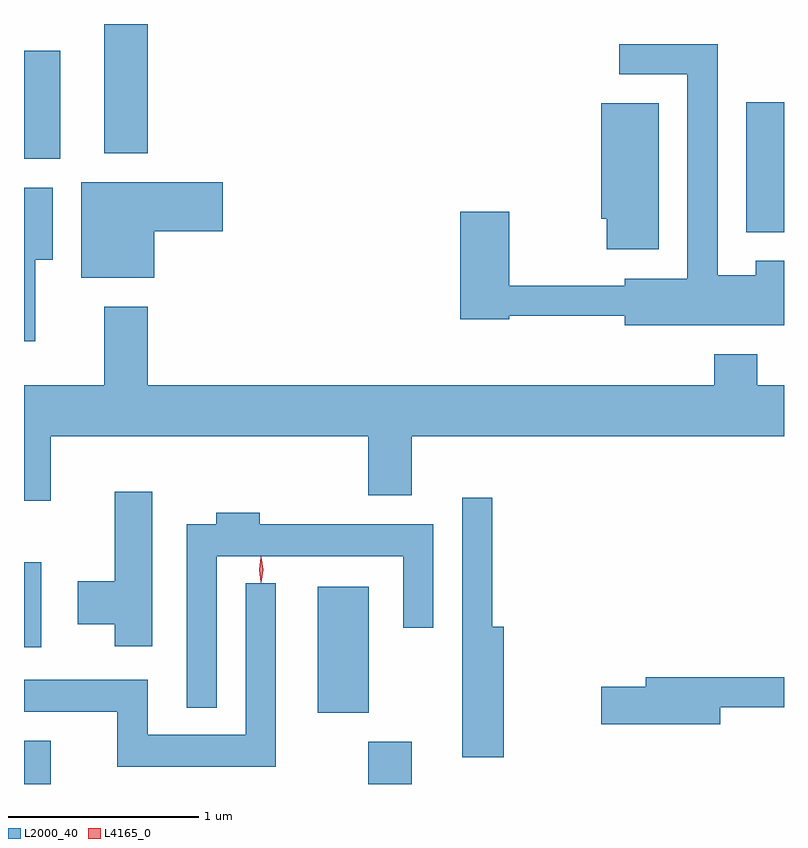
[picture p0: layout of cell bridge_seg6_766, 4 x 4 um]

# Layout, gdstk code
import gdstk
lib = gdstk.Library(unit=1e-6, precision=1e-09)
def R(c, l, rs):  # rectangles x0, y0, x1, y1
    for r in rs: c.add(gdstk.rectangle(r[:2], r[2:], *l))
def P(c, l, *ps):  # polygons
    for p in ps: c.add(gdstk.Polygon(p, *l))
L2000_40 = (2000, 40)
L4165_0 = (4165, 0)

bridge_seg6_766 = lib.new_cell('bridge_seg6_766')
R(bridge_seg6_766, L2000_40, [(437.559,1572.626,437.699,1572.854), (439.371,1572.626,439.599,1572.849), (439.106,1573.001,439.374,1573.664), (437.559,1573.346,437.649,1573.794), (441.361,1575.531,441.559,1576.214), (437.559,1575.916,437.749,1576.484), (437.981,1575.946,438.209,1576.626)])
P(bridge_seg6_766, L2000_40, [(441.559,1575.379),(441.411,1575.379),(441.411,1575.304),(441.209,1575.304),(441.209,1576.519),(440.693,1576.519),(440.693,1576.361),(441.051,1576.361),(441.051,1575.284),(440.721,1575.284),(440.721,1575.249),(440.114,1575.249),(440.114,1575.639),(439.856,1575.639),(439.856,1575.071),(440.114,1575.071),(440.114,1575.091),(440.721,1575.091),(440.721,1575.041),(441.559,1575.041)],
  [(440.899,1576.209),(440.596,1576.209),(440.596,1575.601),(440.626,1575.601),(440.626,1575.441),(440.899,1575.441)],
  [(438.244,1575.536),(438.604,1575.536),(438.604,1575.794),(437.861,1575.794),(437.861,1575.291),(438.244,1575.291)],
  [(437.619,1575.386),(437.709,1575.386),(437.709,1575.764),(437.559,1575.764),(437.559,1574.956),(437.619,1574.956)],
  [(437.699,1574.456),(439.371,1574.456),(439.371,1574.146),(439.599,1574.146),(439.599,1574.456),(441.559,1574.456),(441.559,1574.724),(441.419,1574.724),(441.419,1574.889),(441.191,1574.889),(441.191,1574.724),(438.209,1574.724),(438.209,1575.139),(437.981,1575.139),(437.981,1574.724),(437.559,1574.724),(437.559,1574.116),(437.699,1574.116)],
  [(438.234,1574.164),(438.036,1574.164),(438.036,1573.694),(437.841,1573.694),(437.841,1573.466),(438.036,1573.466),(438.036,1573.351),(438.234,1573.351)],
  [(440.084,1573.454),(440.024,1573.454),(440.024,1574.133),(439.866,1574.133),(439.866,1572.766),(440.084,1572.766)],
  [(438.574,1573.826),(439.556,1573.826),(439.556,1573.448),(439.714,1573.448),(439.714,1573.994),(438.799,1573.994),(438.799,1574.054),(438.571,1574.054),(438.571,1573.994),(438.416,1573.994),(438.416,1573.028),(438.574,1573.028)],
  [(438.884,1573.683),(438.726,1573.683),(438.726,1572.884),(438.209,1572.884),(438.209,1573.174),(437.559,1573.174),(437.559,1573.006),(438.051,1573.006),(438.051,1572.716),(438.884,1572.716)],
  [(441.224,1573.031),(441.559,1573.031),(441.559,1573.189),(440.831,1573.189),(440.831,1573.139),(440.596,1573.139),(440.596,1572.941),(441.224,1572.941)])
P(bridge_seg6_766, L4165_0, [(438.805,1573.687),(438.796,1573.754),(438.805,1573.82),(438.806,1573.821),(438.806,1573.82),(438.816,1573.754),(438.806,1573.687),(438.806,1573.687)],
  [(438.807,1573.684),(438.798,1573.753),(438.807,1573.822),(438.808,1573.823),(438.808,1573.822),(438.818,1573.753),(438.808,1573.684),(438.808,1573.684)])

lib.write_gds('bridge_seg6_766.gds')
